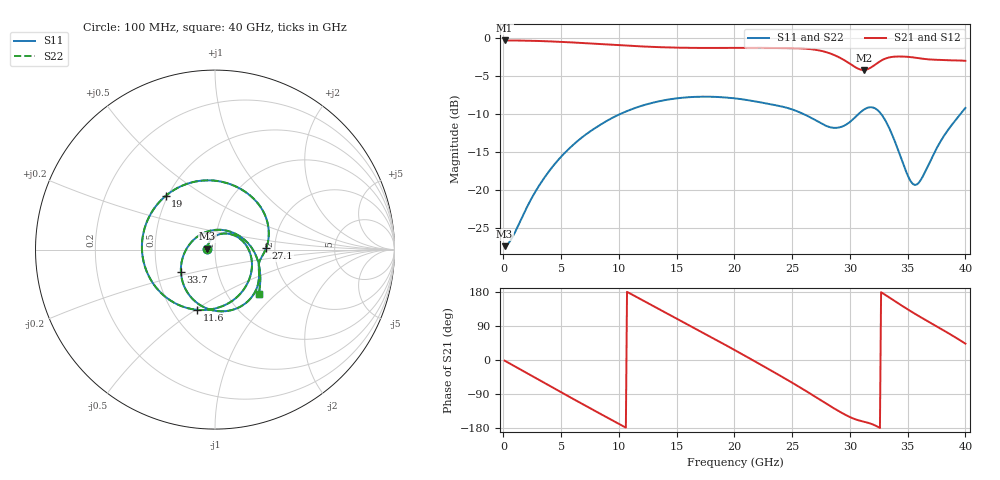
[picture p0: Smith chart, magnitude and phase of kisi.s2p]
! P_ts6_finger_noplane: gold finger 0.7 × 2.1 mm between GND fingers (gap 0.3 mm), every plane cut back
! stackup: ThunderScope Rev5.3 6-layer (FR408HR / FR-4, from the board file)
! ports: 1, 2
! kisi-fdtd, conformal, dfine 0.035 mm, 1225112 cells
# Hz S RI R 50
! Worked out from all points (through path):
!   400 points, 100 MHz to 40 GHz, reference 50 ohm
!   highest |S21| = -0.38 dB at 100 MHz (marker M1); lowest = -4.2 dB at 31.2 GHz (marker M2)
!   group delay of S21, straight-line fit = 46.6 ps
!   lowest |S11| = -27.3 dB at 100 MHz (marker M3), VSWR 1.09, Z = 45.9 + j0.42 ohm
!   |S11| at or under -10 dB: start of sweep to 10.13 GHz; 25.96 GHz to 30.76 GHz (4.799 GHz wide, 16.9 % of centre); 32.7 GHz to 39.58 GHz (6.878 GHz wide, 19 % of centre)
!   |S22| runs from -27.3 to -7.7 dB; largest |S21 - S12| = 0
!   S11 on the Smith chart (normalised r, x): 100 MHz: 0.92, +0.01; 11.6 GHz: 0.66, -0.51; 19 GHz: 0.49, +0.35; 27.1 GHz: 1.80, +0.03; 33.7 GHz: 0.66, -0.17; 40 GHz: 1.39, -0.78
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1e8  -0.0428 0.00457  0.9566 -0.0285  0.9566 -0.0285  -0.0428 0.00457
1.8e9  -0.00495 0.0711  0.8201 -0.4881  0.8201 -0.4881  -0.00495 0.0711
3.7e9  0.093 0.0843  0.4273 -0.8438  0.4273 -0.8438  0.093 0.0843
6.8e9  0.2061 -0.0823  -0.3968 -0.8308  -0.3968 -0.8308  0.2061 -0.0823
9.3e9  0.1152 -0.271  -0.8261 -0.3492  -0.8261 -0.3492  0.1152 -0.271
1.16e10  -0.0992 -0.3356  -0.8477 0.226  -0.8477 0.226  -0.0992 -0.3356
1.34e10  -0.2761 -0.2633  -0.6189 0.6051  -0.6189 0.6051  -0.2761 -0.2633
1.62e10  -0.4073 0.0137  0.00234 0.856  0.00234 0.856  -0.4073 0.0137
1.9e10  -0.2757 0.2983  0.621 0.5883  0.621 0.5883  -0.2757 0.2983
2.01e10  -0.1679 0.3621  0.7764 0.3612  0.7764 0.3612  -0.1679 0.3621
2.32e10  0.1569 0.3294  0.7532 -0.4044  0.7532 -0.4044  0.1569 0.3294
2.51e10  0.2827 0.1821  0.4038 -0.7508  0.4038 -0.7508  0.2827 0.1821
2.67e10  0.2942 0.0379  -0.0184 -0.8373  -0.0184 -0.8373  0.2942 0.0379
2.71e10  0.2853 0.00842  -0.1272 -0.8198  -0.1272 -0.8198  0.2853 0.00842
2.91e10  0.2444 -0.0832  -0.5333 -0.5126  -0.5333 -0.5126  0.2444 -0.0832
3.12e10  0.1978 -0.2728  -0.5857 -0.1816  -0.5857 -0.1816  0.1978 -0.2728
3.23e10  -0.0102 -0.3389  -0.671 -0.0658  -0.671 -0.0658  -0.0102 -0.3389
3.34e10  -0.18 -0.1819  -0.7161 0.1908  -0.7161 0.1908  -0.18 -0.1819
3.37e10  -0.1899 -0.1245  -0.6981 0.2675  -0.6981 0.2675  -0.1899 -0.1245
3.57e10  -0.0173 0.1072  -0.3763 0.6343  -0.3763 0.6343  -0.0173 0.1072
3.79e10  0.2122 -0.0017  0.0994 0.7059  0.0994 0.7059  0.2122 -0.0017
4e10  0.2431 -0.2462  0.5134 0.4817  0.5134 0.4817  0.2431 -0.2462
